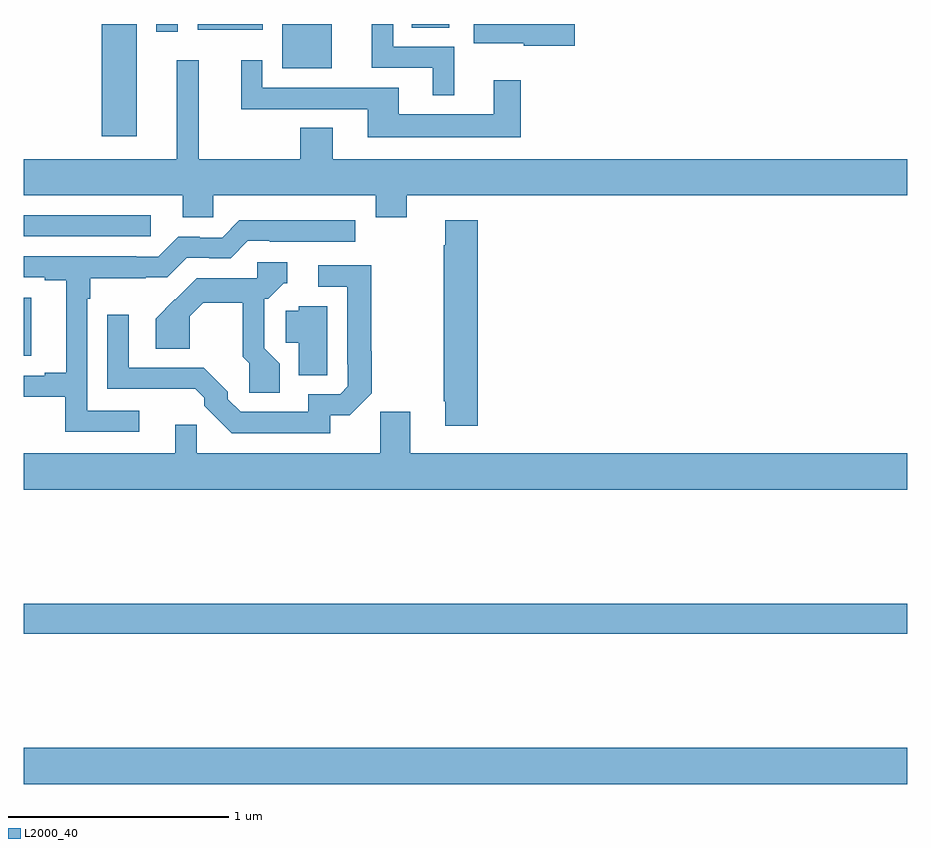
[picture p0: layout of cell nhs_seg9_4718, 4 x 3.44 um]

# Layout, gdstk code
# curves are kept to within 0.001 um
import gdstk
lib = gdstk.Library(unit=1e-6, precision=1e-09)
def R(c, l, rs):  # rectangles x0, y0, x1, y1
    for r in rs: c.add(gdstk.rectangle(r[:2], r[2:], *l))
def P(c, l, *ps):  # polygons
    for p in ps: c.add(gdstk.Polygon(p, *l))
L2000_40 = (2000, 40)

nhs_seg9_4718 = lib.new_cell('nhs_seg9_4718')
R(nhs_seg9_4718, L2000_40, [(383,1223.06,387,1223.224), (383,1223.74,387,1223.876), (383,1224.999,383.035,1225.261), (383,1225.539,383.575,1225.635), (383.354,1225.992,383.512,1226.5), (384.17,1226.3,384.394,1226.5), (383.601,1226.466,383.697,1226.5), (383.789,1226.474,384.082,1226.5), (384.757,1226.482,384.927,1226.5)])
P(nhs_seg9_4718, L2000_40, [(385.495,1226.5),(385.037,1226.5),(385.037,1226.414),(385.263,1226.414),(385.263,1226.402),(385.495,1226.402)],
  [(384.949,1226.397),(384.672,1226.397),(384.672,1226.5),(384.575,1226.5),(384.575,1226.301),(384.851,1226.301),(384.851,1226.177),(384.949,1226.177)],
  [(384.733,1225.724),(387,1225.724),(387,1225.888),(384.4,1225.888),(384.4,1226.03),(384.253,1226.03),(384.253,1225.888),(383.792,1225.888),(383.792,1226.335),(383.693,1226.335),(383.693,1225.888),(383,1225.888),(383,1225.724),(383.72,1225.724),(383.72,1225.626),(383.859,1225.626),(383.859,1225.724),(384.593,1225.724),(384.593,1225.625),(384.733,1225.625)],
  [(385.249,1226.245),(385.127,1226.245),(385.127,1226.092),(384.697,1226.092),(384.697,1226.211),(384.081,1226.211),(384.081,1226.335),(383.984,1226.335),(383.984,1226.115),(384.557,1226.115),(384.557,1225.988),(385.249,1225.988)],
  [(385.055,1225.612),(384.908,1225.612),(384.908,1225.499),(384.901,1225.499),(384.901,1224.793),(384.908,1224.793),(384.908,1224.681),(385.055,1224.681)],
  [(383.524,1224.75),(383.289,1224.75),(383.289,1225.256),(383.302,1225.256),(383.302,1225.35),(383.552,1225.35),(383.552,1225.353),(383.649,1225.353),(383.739,1225.443),(383.84,1225.443),(383.84,1225.44),(383.937,1225.44),(384.015,1225.518),(384.115,1225.518),(384.115,1225.515),(384.502,1225.515),(384.502,1225.611),(383.977,1225.612),(383.898,1225.533),(383.798,1225.533),(383.798,1225.536),(383.7,1225.536),(383.61,1225.446),(383.51,1225.446),(383.51,1225.449),(383,1225.449),(383,1225.353),(383.096,1225.353),(383.096,1225.341),(383.192,1225.341),(383.192,1224.922),(383.096,1224.922),(383.096,1224.909),(383,1224.909),(383,1224.812),(383.188,1224.812),(383.188,1224.654),(383.524,1224.654)],
  [(384.16,1224.962),(384.09,1225.032),(384.09,1225.257),(384.108,1225.257),(384.177,1225.326),(384.193,1225.326),(384.193,1225.422),(384.057,1225.422),(384.057,1225.35),(383.783,1225.35),(383.686,1225.253),(383.685,1225.254),(383.598,1225.166),(383.598,1225.03),(383.752,1225.03),(383.752,1225.178),(383.813,1225.239),(383.992,1225.239),(383.992,1224.994),(384.021,1224.965),(384.021,1224.831),(384.16,1224.831)],
  [(384.387,1224.729),(384.476,1224.729),(384.576,1224.828),(384.576,1225.019),(384.574,1225.019),(384.574,1225.407),(384.333,1225.407),(384.333,1225.311),(384.465,1225.311),(384.465,1224.961),(384.468,1224.961),(384.468,1224.861),(384.432,1224.825),(384.288,1224.825),(384.288,1224.744),(383.982,1224.744),(383.925,1224.801),(383.925,1224.835),(383.815,1224.945),(383.475,1224.945),(383.475,1225.183),(383.379,1225.183),(383.379,1224.849),(383.776,1224.848),(383.817,1224.808),(383.817,1224.773),(383.942,1224.648),(384.387,1224.648)],
  [(384.375,1225.222),(384.246,1225.222),(384.246,1225.203),(384.186,1225.203),(384.186,1225.058),(384.245,1225.058),(384.245,1224.91),(384.375,1224.91)],
  [(387,1224.556),(384.751,1224.556),(384.751,1224.744),(384.613,1224.744),(384.613,1224.556),(383.783,1224.556),(383.783,1224.686),(383.687,1224.686),(383.687,1224.556),(383,1224.556),(383,1224.392),(387,1224.392)])

lib.write_gds('nhs_seg9_4718.gds')
